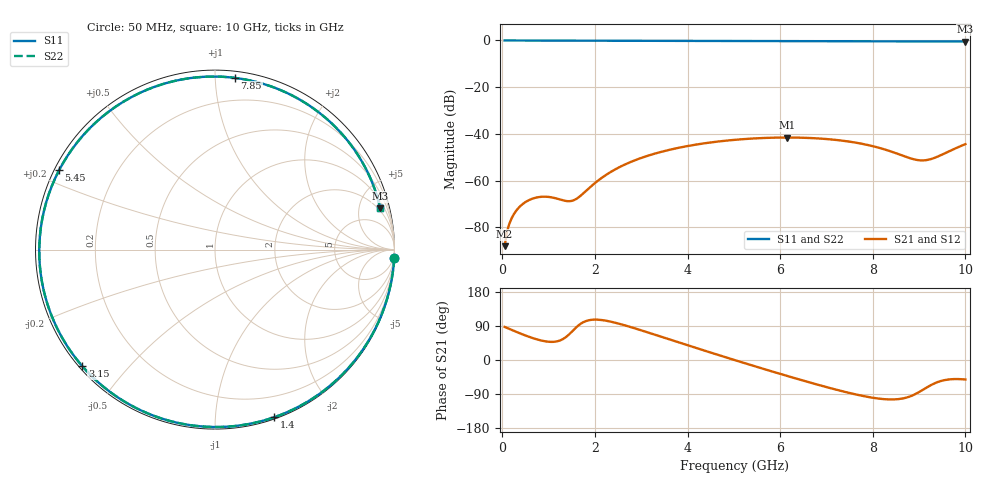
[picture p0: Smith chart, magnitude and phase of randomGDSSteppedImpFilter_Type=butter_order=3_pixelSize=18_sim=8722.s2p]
! freq	dB(S11)	phase(S11)	dB(S12)	phase(S12)
!  dB(S21)	phase(S21)	dB(S22)	phase(S22)
!S-par simulation data
#  GHz  S  DB  R 50
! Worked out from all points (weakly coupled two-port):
!   200 points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, 50 MHz to 10 GHz, reference 50 ohm
!   highest |S21| = -41.53 dB at 6.15 GHz (marker M1); lowest = -88.0 dB at 50 MHz (marker M2)
!   lowest |S11| = -0.5 dB at 10 GHz (marker M3), VSWR 38.32, Z = 83.9 + j389 ohm
!   |S11| at or under -10 dB: nowhere
!   |S22| runs from -0.5 to 0.0 dB; largest |S21 - S12| = 0
!   S11 on the Smith chart (normalised r, x): 50 MHz: 0, -43; 1.4 GHz: 0.01, -1.41; 3.15 GHz: 0.01, -0.38; 5.45 GHz: 0.01, +0.24; 7.85 GHz: 0.04, +1.12; 10 GHz: 1.68, +7.78
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0.05  -0.00 -2.7  -88.02 87.4  -88.02 87.4  -0.00 -2.7
0.1  -0.01 -5.4  -82.04 84.7  -82.04 84.7  -0.01 -5.4
0.35  -0.03 -18.6  -71.67 71.9  -71.67 71.9  -0.03 -18.6
0.6  -0.04 -31.6  -68.10 60.2  -68.10 60.2  -0.04 -31.6
0.95  -0.06 -49.3  -66.87 48.9  -66.87 48.9  -0.06 -49.3
1.4  -0.08 -70.6  -68.75 63.0  -68.75 63.0  -0.08 -70.6
1.55  -0.09 -77.4  -68.31 80.6  -68.31 80.6  -0.09 -77.4
1.75  -0.10 -86.1  -65.42 99.7  -65.42 99.7  -0.10 -86.1
2.35  -0.12 -110.3  -56.16 100.9  -56.16 100.9  -0.12 -110.3
3.15  -0.14 -138.6  -49.28 72.5  -49.28 72.5  -0.14 -138.6
3.4  -0.15 -146.8  -47.83 62.7  -47.83 62.7  -0.15 -146.7
4.2  -0.17 -171.3  -44.51 31.2  -44.51 31.2  -0.17 -171.2
5.05  -0.21 164.3  -42.46 -1.4  -42.46 -1.4  -0.21 164.4
5.45  -0.22 153.1  -41.91 -16.4  -41.91 -16.4  -0.22 153.1
6.15  -0.25 133.3  -41.53 -42.0  -41.53 -42.0  -0.25 133.4
6.7  -0.28 117.6  -41.79 -61.4  -41.79 -61.4  -0.28 117.7
7.3  -0.30 100.0  -42.77 -81.1  -42.77 -81.1  -0.30 100.1
7.85  -0.33 83.4  -44.55 -96.4  -44.55 -96.4  -0.33 83.4
8.35  -0.35 67.8  -47.22 -104.1  -47.22 -104.1  -0.35 67.9
9.1  -0.38 43.7  -51.31 -77.3  -51.31 -77.3  -0.38 43.8
9.35  -0.40 35.5  -50.11 -60.7  -50.11 -60.7  -0.40 35.7
10  -0.45 14.0  -44.37 -51.4  -44.37 -51.4  -0.45 14.1
